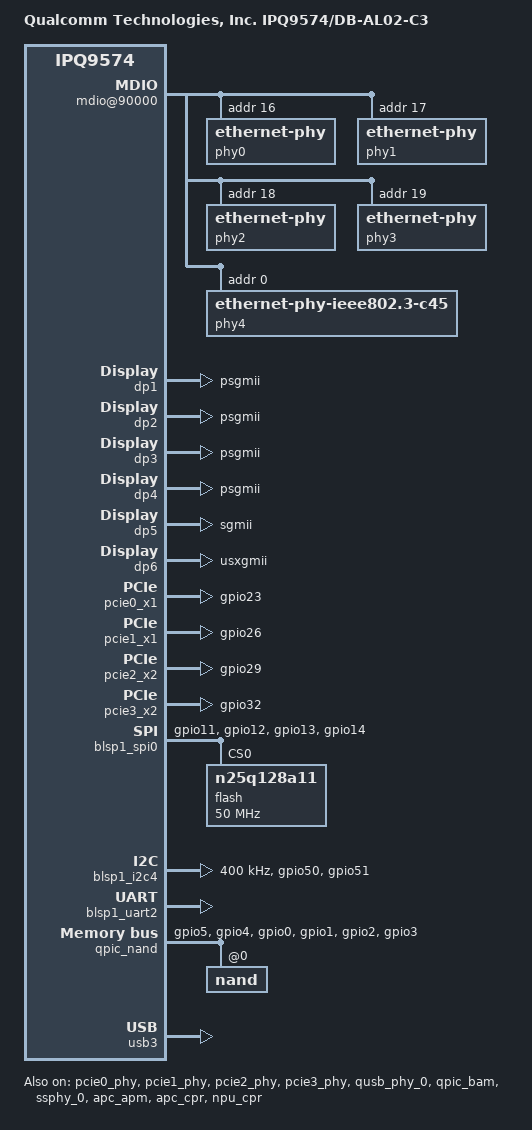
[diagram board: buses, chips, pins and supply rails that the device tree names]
// SPDX-License-Identifier: (GPL-2.0+ OR BSD-3-Clause)
/*
 * IPQ9574 DB-AL02-C3 board device tree source
 *
 * Copyright (c) 2020-2021 The Linux Foundation. All rights reserved.
 * Copyright (c) 2023-2024 Qualcomm Innovation Center, Inc. All rights reserved.
 */

/dts-v1/;

#include <dt-bindings/gpio/gpio.h>
#include <dt-bindings/input/input.h>
#include "ipq9574-qcn9224-default-memory.dtsi"
#include "ipq9574.dtsi"

/ {
	model = "Qualcomm Technologies, Inc. IPQ9574/DB-AL02-C3";
	compatible = "qcom,ipq9574-db-al02-c3", "qcom,ipq9574";

	aliases {
		serial0 = &blsp1_uart2;
		serial1 = &blsp1_uart4;
		ethernet0 = "/soc/dp1";
		ethernet1 = "/soc/dp2";
		ethernet2 = "/soc/dp3";
		ethernet3 = "/soc/dp4";
		ethernet4 = "/soc/dp5";
		ethernet5 = "/soc/dp6";
	};

	chosen {
		stdout-path = "serial0:115200n8";
	};

	soc@0 {
		mdio@90000 {
			pinctrl-0 = <&mdio_pins>;
			pinctrl-names = "default";
			/*gpio60 for malibu reset*/
			phy-reset-gpio = <&tlmm 60 GPIO_ACTIVE_LOW>;
			status = "okay";

			phy0: ethernet-phy@0 {
				reg = <16>;
			};
			phy1: ethernet-phy@1 {
				reg = <17>;
			};
			phy2: ethernet-phy@2 {
				reg = <18>;
			};
			phy3: ethernet-phy@3 {
				reg = <19>;
			};
			phy4: ethernet-phy@4 {
				compatible ="ethernet-phy-ieee802.3-c45";
				reg = <0>;
			};
		};

		ess-instance {
			num_devices = <0x1>;
			ess-switch@3a000000 {
				pinctrl-0 = <&sfp_pins>;
				pinctrl-names = "default";
				switch_cpu_bmp = <0x1>;  /* cpu port bitmap */
				switch_lan_bmp = <0x3e>; /* lan port bitmap */
				switch_wan_bmp = <0x40>; /* wan port bitmap */
				switch_mac_mode = <0x0>; /* mac mode for uniphy instance0*/
				switch_mac_mode1 = <0xe>; /* mac mode for uniphy instance1*/
				switch_mac_mode2 = <0xd>; /* mac mode for uniphy instance2*/
				bm_tick_mode = <0>; /* bm tick mode */
				tm_tick_mode = <0>; /* tm tick mode */

				qcom,port_phyinfo {
					port@0 {
						port_id = <1>;
						phy_address = <16>;
					};
					port@1 {
						port_id = <2>;
						phy_address = <17>;
					};
					port@2 {
						port_id = <3>;
						phy_address = <18>;
					};
					port@3 {
						port_id = <4>;
						phy_address = <19>;
					};
					port@4 {
						port_id = <5>;
						phy_address = <30>;
						media-type = "sfp"; /* fiber mode */
					};
					port@5 {
						port_id = <6>;
						phy_address = <0>;
						ethernet-phy-ieee802.3-c45;
					};
				};
			};
		};

		dp1 {
			device_type = "network";
			compatible = "qcom,nss-dp";
			qcom,id = <1>;
			reg = <0x3a001000 0x200>;
			qcom,mactype = <0>;
			qcom,link-poll = <1>;
			local-mac-address = [000000000000];
			qcom,phy-mdio-addr = <16>;
			phy-mode = "psgmii";
		};

		dp2 {
			device_type = "network";
			compatible = "qcom,nss-dp";
			qcom,id = <2>;
			reg = <0x3a001200 0x200>;
			qcom,mactype = <0>;
			qcom,link-poll = <1>;
			local-mac-address = [000000000000];
			qcom,phy-mdio-addr = <17>;
			phy-mode = "psgmii";
		};

		dp3 {
			device_type = "network";
			compatible = "qcom,nss-dp";
			qcom,id = <3>;
			reg = <0x3a001400 0x200>;
			qcom,mactype = <0>;
			qcom,link-poll = <1>;
			local-mac-address = [000000000000];
			qcom,phy-mdio-addr = <18>;
			phy-mode = "psgmii";
		};

		dp4 {
			device_type = "network";
			compatible = "qcom,nss-dp";
			qcom,id = <4>;
			reg = <0x3a001600 0x200>;
			qcom,mactype = <0>;
			qcom,link-poll = <1>;
			local-mac-address = [000000000000];
			qcom,phy-mdio-addr = <19>;
			phy-mode = "psgmii";
		};

		dp5 {
			device_type = "network";
			compatible = "qcom,nss-dp";
			qcom,id = <5>;
			reg = <0x3a510000 0x4000>;
			qcom,mactype = <1>;
			qcom,link-poll = <1>;
			local-mac-address = [000000000000];
			qcom,phy-mdio-addr = <30>;
			phy-mode = "sgmii";
		};

		dp6 {
			device_type = "network";
			compatible = "qcom,nss-dp";
			qcom,id = <6>;
			reg = <0x3a514000 0x4000>;
			qcom,mactype = <1>;
			qcom,link-poll = <1>;
			local-mac-address = [000000000000];
			qcom,phy-mdio-addr = <0>;
			phy-mode = "usxgmii";
		};

		/* EDMA host driver configuration for the board */
		edma@3ab00000 {
			qcom,txdesc-ring-start = <4>;		/* Tx desc ring start ID */
			qcom,txdesc-rings = <28>;		/* Total number of Tx desc rings to be provisioned */
			qcom,txcmpl-ring-start = <4>;		/* Tx complete ring start ID */
			qcom,txcmpl-rings = <28>;		/* Total number of Tx complete rings to be provisioned */
			qcom,rxfill-ring-start = <4>;		/* Rx fill ring start ID */
			qcom,rxfill-rings = <4>;		/* Total number of Rx fill rings to be provisioned */
			qcom,rxdesc-ring-start = <20>;		/* Rx desc ring start ID */
			qcom,rxdesc-rings = <4>;		/* Total number of Rx desc rings to be provisioned */
			qcom,rx-page-mode = <0>;		/* Rx fill ring page mode */
			qcom,tx-map-priority-level = <1>;	/* Tx priority level per port */
			qcom,rx-map-priority-level = <1>;	/* Rx priority level per core */
			qcom,ppeds-num = <0>;			/* Number of PPEDS nodes */
			qcom,txdesc-map = <8 9 10 11>,		/* Port0 per-core Tx ring map */
					<12 13 14 15>,		/* Port1 per-core Tx ring map */
					<16 17 18 19>,		/* Port2 per-core Tx ring map */
					<20 21 22 23>,		/* Port3 per-core Tx ring map */
					<24 25 26 27>,		/* Port4 per-core Tx ring map */
					<28 29 30 31>,		/* Port5 per-core Tx ring map */
					<4 5 6 7>;		/* Used only for packets from VP */
			qcom,txdesc-fc-grp-map = <1 2 3 4 5 6>;	/* Per GMAC flow control group map */
			qcom,rxfill-map = <4 5 6 7>;		/* Per-core Rx fill ring map */
			qcom,rxdesc-map = <20 21 22 23>;	/* Per-core Rx desc ring map */
			qcom,rx-queue-start = <0>;		/* Rx queue start */
			qcom,rx-ring-queue-map = <0 8 16 24>,	/* Priority 0 queues per-core Rx ring map */
					<1 9 17 25>,		/* Priority 1 queues per-core Rx ring map */
					<2 10 18 26>,		/* Priority 2 queues per-core Rx ring map */
					<3 11 19 27>,		/* Priority 3 queues per-core Rx ring map */
					<4 12 20 28>,		/* Priority 4 queues per-core Rx ring map */
					<5 13 21 29>,		/* Priority 5 queues per-core Rx ring map */
					<6 14 22 30>,		/* Priority 6 queues per-core Rx ring map */
					<7 15 23 31>;		/* Priority 7 queues per-core Rx ring map */
			qcom,vp-id = <8>;			/* Virtual port dummy MAC Id */
			qcom,txdesc_point_offload_ring = <0>;		/* Txdesc point offlaod ring */
			qcom,txcmpl_point_offload_ring = <0>;		/* Txcmpl point offlaod ring */
			qcom,rxfill_point_offload_ring = <0>;		/* Rxfill point offlaod ring */
			qcom,rxdesc_point_offload_ring = <0>;		/* Rxdesc point offlaod ring */
			interrupts = <0 367 4>,			/* Tx complete ring id #4 IRQ info */
				   <0 368 4>,			/* Tx complete ring id #5 IRQ info */
				   <0 369 4>,			/* Tx complete ring id #6 IRQ info */
				   <0 370 4>,			/* Tx complete ring id #7 IRQ info */
				   <0 371 4>,			/* Tx complete ring id #8 IRQ info */
				   <0 372 4>,			/* Tx complete ring id #9 IRQ info */
				   <0 373 4>,			/* Tx complete ring id #10 IRQ info */
				   <0 374 4>,			/* Tx complete ring id #11 IRQ info */
				   <0 375 4>,			/* Tx complete ring id #12 IRQ info */
				   <0 376 4>,			/* Tx complete ring id #13 IRQ info */
				   <0 377 4>,			/* Tx complete ring id #14 IRQ info */
				   <0 378 4>,			/* Tx complete ring id #15 IRQ info */
				   <0 379 4>,			/* Tx complete ring id #16 IRQ info */
				   <0 380 4>,			/* Tx complete ring id #17 IRQ info */
				   <0 381 4>,			/* Tx complete ring id #18 IRQ info */
				   <0 382 4>,			/* Tx complete ring id #19 IRQ info */
				   <0 383 4>,			/* Tx complete ring id #20 IRQ info */
				   <0 384 4>,			/* Tx complete ring id #21 IRQ info */
				   <0 509 4>,			/* Tx complete ring id #22 IRQ info */
				   <0 508 4>,			/* Tx complete ring id #23 IRQ info */
				   <0 507 4>,			/* Tx complete ring id #24 IRQ info */
				   <0 506 4>,			/* Tx complete ring id #25 IRQ info */
				   <0 505 4>,			/* Tx complete ring id #26 IRQ info */
				   <0 504 4>,			/* Tx complete ring id #27 IRQ info */
				   <0 503 4>,			/* Tx complete ring id #28 IRQ info */
				   <0 502 4>,			/* Tx complete ring id #29 IRQ info */
				   <0 501 4>,			/* Tx complete ring id #30 IRQ info */
				   <0 500 4>,			/* Tx complete ring id #31 IRQ info */
				   <0 351 4>,			/* Rx desc ring id #20 IRQ info */
				   <0 352 4>,			/* Rx desc ring id #21 IRQ info */
				   <0 353 4>,			/* Rx desc ring id #22 IRQ info */
				   <0 354 4>,			/* Rx desc ring id #23 IRQ info */
				   <0 499 4>,			/* Misc error IRQ info */
				   <0 359 4>,			/* RxFill ring id #4 IRQ info */
				   <0 360 4>,			/* RxFill ring id #5 IRQ info */
				   <0 361 4>,			/* RxFill ring id #6 IRQ info */
				   <0 362 4>;			/* RxFill ring id #7 IRQ info */

		};
	};
};

&pcie0_x1 {
	pinctrl-0 = <&pci0_pin>;
	pinctrl-names = "default";
	perst-gpio = <&tlmm 23 GPIO_ACTIVE_LOW>;
	status = "okay";

	pcie0_rp {
		reg = <0 0 0 0 0>;
	};
};

&pcie0_phy {
	status = "okay";
};

&pcie1_x1 {
	pinctrl-0 = <&pci1_pin>;
	pinctrl-names = "default";
	perst-gpio = <&tlmm 26 GPIO_ACTIVE_LOW>;
	status = "okay";

	pcie1_rp {
		reg = <0 0 0 0 0>;
	};
};

&pcie1_phy {
	status = "okay";
};

&pcie2_x2 {
	pinctrl-0 = <&pci2_pin>;
	pinctrl-names = "default";
	perst-gpio = <&tlmm 29 GPIO_ACTIVE_LOW>;
	status = "okay";

	pcie2_rp {
		reg = <0 0 0 0 0>;
	};
};

&pcie2_phy {
	status = "okay";
};

&pcie3_x2 {
	pinctrl-0 = <&pci3_pin>;
	pinctrl-names = "default";
	perst-gpio = <&tlmm 32 GPIO_ACTIVE_LOW>;
	status = "okay";

	pcie3_rp {
		reg = <0 0 0 0 0>;
	};
};

&pcie3_phy {
	status = "okay";
};

&qusb_phy_0 {
	status = "okay";
};

&blsp1_spi0 { /* BLSP1 QUP0 */
	pinctrl-0 = <&spi_0_pins>;
	pinctrl-names = "default";
	cs-select = <0>;
	status = "okay";

	flash@0 {
		compatible = "n25q128a11", "micron,n25q128a11", "jedec,spi-nor";
		reg = <0>;
		#address-cells = <1>;
		#size-cells = <1>;
		spi-max-frequency = <50000000>;
	};
};

&blsp1_i2c4 {
	clock-frequency = <400000>;
	pinctrl-0 = <&i2c_4_pins>;
	pinctrl-names = "default";
	status = "okay";
};

&blsp1_uart2 {
	pinctrl-0 = <&uart2_pins>;
	pinctrl-names = "default";
	status = "okay";
};

&qpic_bam {
	status = "okay";
};

&qpic_nand {
	pinctrl-0 = <&qspi_nand_pins>;
	pinctrl-names = "default";
	qcom,io_macro_max_clk = <320000000>;
	qcom,io_macro_clk_rates = <24000000 100000000 200000000 \
				   320000000>;
	status = "okay";

	nand@0 {
		reg = <0>;
		#address-cells = <1>;
		#size-cells = <1>;
		nand-ecc-strength = <4>;
		nand-ecc-step-size = <512>;
		nand-bus-width = <8>;
	};
};

&sleep_clk {
	clock-frequency = <32000>;
};

&ssphy_0 {
	status = "okay";
};

&rpm_requests {
	regulators {
		compatible = "qcom,rpm-mp5496-regulators";

		ipq9574_s1: s1 {
		 /*
		 * During kernel bootup, the SoC runs at 800MHz with 875mV set by the bootloaders.
		 * During regulator registration, kernel not knowing the initial voltage,
		 * considers it as zero and brings up the regulators with minimum supported voltage.
		 * Updating the regulator-min-microvolt with SVS voltage of 725000uV so that
		 * the regulators are brought up with 725000uV which is sufficient for all the
		 * corner parts to operate at 800MHz
		 */
			regulator-min-microvolt = <587500>;
			regulator-max-microvolt = <1075000>;
		};
		ipq9574_s2: s2 {
			regulator-min-microvolt = <700000>;
			regulator-max-microvolt = <1000000>;
		};
	};
};

&tlmm {
	pci0_pin: pci0-default-state {
		pins = "gpio23";
		function = "gpio";
		drive-strength = <8>;
		bias-pull-up;
		output-low;
	};

	pci1_pin: pci1-default-state {
		pins = "gpio26";
		function = "gpio";
		drive-strength = <8>;
		bias-pull-down;
		output-low;
	};

	pci2_pin: pci2-default-state {
		pins = "gpio29";
		function = "gpio";
		drive-strength = <8>;
		bias-pull-down;
		output-low;
	};

	pci3_pin: pci3-default-state {
		pins = "gpio32";
		function = "gpio";
		drive-strength = <8>;
		bias-pull-up;
		output-low;
	};

	i2c_3_pins: i2c-3-pins {
		pins = "gpio15", "gpio16";
		function = "blsp3_i2c";
		drive-strength = <8>;
		bias-disable;
	};

	spi_0_pins: spi-0-pins {
		pins = "gpio11", "gpio12", "gpio13", "gpio14";
		function = "blsp0_spi";
		drive-strength = <8>;
		bias-disable;
	};

	uart4_pins: uart4-pins {
		pins = "gpio50", "gpio51", "gpio52", "gpio53";
		function = "blsp4_uart";
		drive-strength = <8>;
		bias-disable;
	};

	qspi_nand_pins: qspi_nand_pins {
		qspi_clock {
			pins = "gpio5";
			function = "qspi_clk";
			drive-strength = <8>;
			bias-disable;
		};

		qspi_cs {
			pins = "gpio4";
			function = "qspi_cs";
			drive-strength = <8>;
			bias-disable;
		};

		qspi_data {
			pins = "gpio0", "gpio1", "gpio2", "gpio3";
			function = "qspi_data";
			drive-strength = <8>;
			bias-disable;
		};
	};

	sfp_pins: sfp_pinmux {
		sfp_rx {
			pins = "gpio46";
			function = "rx1";
			bias-disable;
		};

		sfp_tx {
			pins = "gpio61";
			function = "gpio";
			drive-strength = <8>;
			bias-pull-down;
			output-low;
		};
	};

	i2c_4_pins: i2c-4-pinmux {
		pins = "gpio50", "gpio51";
		function = "blsp4_i2c";
		drive-strength = <8>;
		bias-disable;
	};
};

&usb3 {
	status = "okay";
};

&xo {
	clock-frequency = <24000000>;
};

&CPU0 {
	cpu-supply = <&apc_vreg>;
};

&CPU1 {
	cpu-supply = <&apc_vreg>;
};

&CPU2 {
	cpu-supply = <&apc_vreg>;
};

&CPU3 {
	cpu-supply = <&apc_vreg>;
};

&apc_apm {
	status = "okay";
};

&apc_cpr {
	vdd-supply = <&ipq9574_s1>;
	status = "okay";
};

&npu_cpr {
	vdd-supply = <&ipq9574_s2>;
	status = "okay";
};
